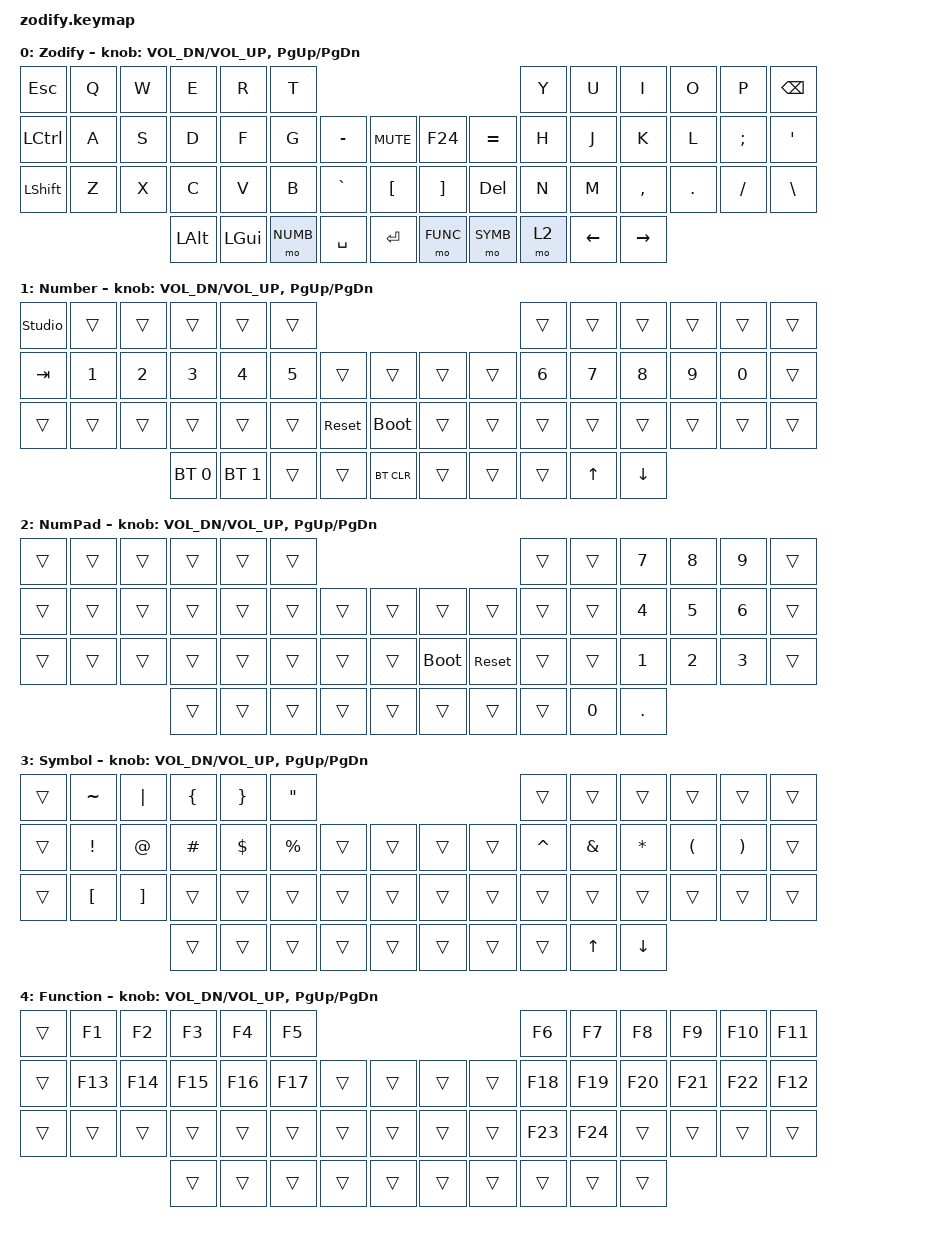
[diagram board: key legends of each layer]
#include <behaviors.dtsi>
#include <dt-bindings/zmk/bt.h>
#include <dt-bindings/zmk/keys.h>

#define NUMB 1
#define NUMP 2
#define SYMB 3
#define FUNC 4

/ {
    keymap {
        compatible = "zmk,keymap";

        default_layer {
            display-name = "Zodify";
            bindings = <
&kp ESC    &kp Q  &kp W  &kp E     &kp R     &kp T                                                 &kp Y  &kp U     &kp I      &kp O    &kp P     &kp BSPC
&kp LCTRL  &kp A  &kp S  &kp D     &kp F     &kp G     &kp MINUS  &kp C_MUTE  &kp F24   &kp EQUAL  &kp H  &kp J     &kp K      &kp L    &kp SEMI  &kp SQT
&kp LSHFT  &kp Z  &kp X  &kp C     &kp V     &kp B     &kp GRAVE  &kp LBKT    &kp RBKT  &kp DEL    &kp N  &kp M     &kp COMMA  &kp DOT  &kp FSLH  &kp BSLH
                         &kp LALT  &kp LGUI  &mo NUMB  &kp SPACE  &kp RET     &mo FUNC  &mo SYMB   &mo 2  &kp LEFT  &kp RIGHT
            >;
            sensor-bindings = <&inc_dec_kp C_VOL_DN C_VOL_UP &inc_dec_kp PG_UP PG_DN>;
        };

        numbers {
            display-name = "Number";
            bindings = <
&studio_unlock  &trans  &trans  &trans        &trans        &trans                                           &trans  &trans  &trans  &trans  &trans  &trans
&kp TAB         &kp N1  &kp N2  &kp N3        &kp N4        &kp N5  &trans      &trans       &trans  &trans  &kp N6  &kp N7  &kp N8  &kp N9  &kp N0  &trans
&trans          &trans  &trans  &trans        &trans        &trans  &sys_reset  &bootloader  &trans  &trans  &trans  &trans  &trans  &trans  &trans  &trans
                                &bt BT_SEL 0  &bt BT_SEL 1  &trans  &trans      &bt BT_CLR   &trans  &trans  &trans  &kp UP  &kp DOWN
            >;
            sensor-bindings = <&inc_dec_kp C_VOL_DN C_VOL_UP &inc_dec_kp PG_UP PG_DN>;
        };

        numpad {
            display-name = "NumPad";
            bindings = <
&trans  &trans  &trans  &trans  &trans  &trans                                           &trans  &trans   &kp N7     &kp N8  &kp N9  &trans
&trans  &trans  &trans  &trans  &trans  &trans  &trans  &trans  &trans       &trans      &trans  &trans   &kp N4     &kp N5  &kp N6  &trans
&trans  &trans  &trans  &trans  &trans  &trans  &trans  &trans  &bootloader  &sys_reset  &trans  &trans   &kp N1     &kp N2  &kp N3  &trans
                        &trans  &trans  &trans  &trans  &trans  &trans       &trans      &trans   &kp N0  &kp DOT
            >;
            sensor-bindings = <&inc_dec_kp C_VOL_DN C_VOL_UP &inc_dec_kp PG_UP PG_DN>;
        };

        symbol {
            display-name = "Symbol";
            bindings = <
&trans  &kp TILDE         &kp PIPE           &kp LEFT_BRACE  &kp RIGHT_BRACE  &kp DOUBLE_QUOTES                                  &trans     &trans    &trans     &trans                &trans                 &trans
&trans  &kp EXCL          &kp AT             &kp HASH        &kp DLLR         &kp PERCENT        &trans  &trans  &trans  &trans  &kp CARET  &kp AMPS  &kp ASTRK  &kp LEFT_PARENTHESIS  &kp RIGHT_PARENTHESIS  &trans
&trans  &kp LEFT_BRACKET  &kp RIGHT_BRACKET  &trans          &trans           &trans             &trans  &trans  &trans  &trans  &trans     &trans    &trans     &trans                &trans                 &trans
                                             &trans          &trans           &trans             &trans  &trans  &trans  &trans  &trans     &kp UP  &kp DOWN
            >;
            sensor-bindings = <&inc_dec_kp C_VOL_DN C_VOL_UP &inc_dec_kp PG_UP PG_DN>;
        };

        function {
            display-name = "Function";
            bindings = <
&trans  &kp F1   &kp F2   &kp F3   &kp F4   &kp F5                                   &kp F6   &kp F7   &kp F8   &kp F9   &kp F10  &kp F11
&trans  &kp F13  &kp F14  &kp F15  &kp F16  &kp F17  &trans  &trans  &trans  &trans  &kp F18  &kp F19  &kp F20  &kp F21  &kp F22  &kp F12
&trans  &trans   &trans   &trans   &trans   &trans   &trans  &trans  &trans  &trans  &kp F23  &kp F24  &trans   &trans   &trans   &trans
                          &trans   &trans   &trans   &trans  &trans  &trans  &trans  &trans   &trans   &trans
            >;
            sensor-bindings = <&inc_dec_kp C_VOL_DN C_VOL_UP &inc_dec_kp PG_UP PG_DN>;
        };
    };
};
